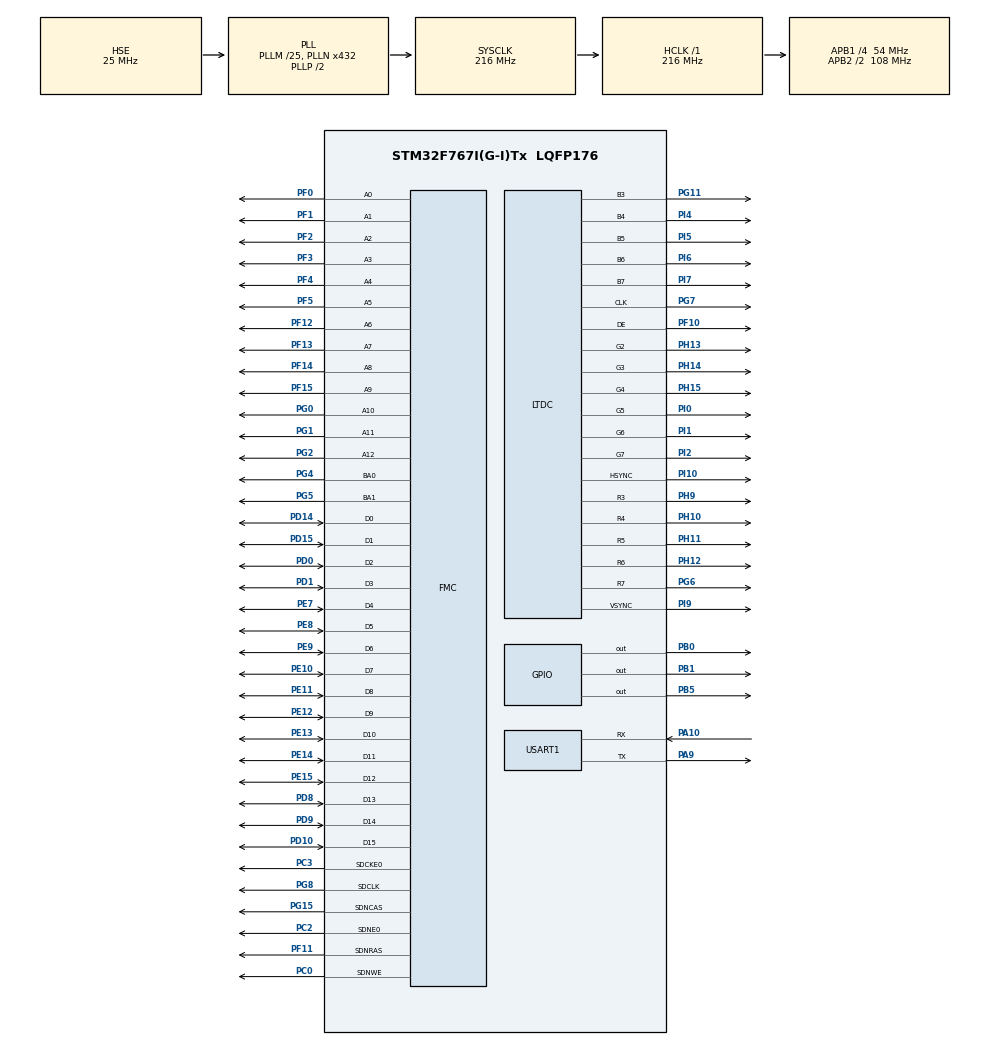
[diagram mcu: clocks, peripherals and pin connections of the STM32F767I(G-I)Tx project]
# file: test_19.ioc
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ADC1.Channel-0\#ChannelRegularConversion=ADC_CHANNEL_TEMPSENSOR
ADC1.InjNumberOfConversion=0
ADC1.NbrOfConversionFlag=1
ADC1.Rank-0\#ChannelRegularConversion=1
ADC1.SamplingTime-0\#ChannelRegularConversion=ADC_SAMPLETIME_480CYCLES
ADC1.master=1
CORTEX_M7.MPU_Control=__NULL
CORTEX_M7.default_mode_Activation=1
DMA2D.ColorMode=DMA2D_OUTPUT_RGB565
FMC.CASLatency1=FMC_SDRAM_CAS_LATENCY_3
FMC.ColumnBitsNumber1=FMC_SDRAM_COLUMN_BITS_NUM_9
FMC.ExitSelfRefreshDelay1=8
FMC.LoadToActiveDelay1=2
FMC.RCDDelay1=2
FMC.RPDelay1=2
FMC.ReadBurst1=FMC_SDRAM_RBURST_ENABLE
FMC.ReadPipeDelay1=FMC_SDRAM_RPIPE_DELAY_1
FMC.RowCycleDelay1=6
FMC.SDClockPeriod1=FMC_SDRAM_CLOCK_PERIOD_2
FMC.SelfRefreshTime1=6
FMC.WriteRecoveryTime1=4
LTDC.ActiveW=800
LTDC.Alpha_L0=255
LTDC.BlendingFactor1_L0=LTDC_BLENDING_FACTOR1_PAxCA
LTDC.BlendingFactor2_L0=LTDC_BLENDING_FACTOR2_PAxCA
LTDC.FBStartAdress_L0=0xc0000000
LTDC.HBP=88
LTDC.HFP=40
LTDC.HSync=48
LTDC.ImageHeight_L0=480
LTDC.ImageWidth_L0=800
LTDC.ImageWidth_L1=0
LTDC.PixelFormat_L0=LTDC_PIXEL_FORMAT_RGB565
LTDC.PixelFormat_L1=LTDC_PIXEL_FORMAT_RGB565
LTDC.VBP=32
LTDC.VFP=13
LTDC.VSync=3
LTDC.WindowX1_L0=800
LTDC.WindowY1_L0=480
Mcu.Family=STM32F7
Mcu.Name=STM32F767I(G-I)Tx
Mcu.Package=LQFP176
NVIC.PriorityGroup=NVIC_PRIORITYGROUP_4
NVIC.USART1_IRQn=true\:0\:0\:false\:false\:true\:true\:true\:true
PA10.GPIO_PuPd=GPIO_PULLUP
PA10.GPIO_Speed=GPIO_SPEED_FREQ_HIGH
PA10.Mode=Asynchronous
PA10.Signal=USART1_RX
PA9.GPIO_ModeDefaultPP=GPIO_MODE_AF_PP
PA9.GPIO_PuPd=GPIO_PULLUP
PA9.GPIO_Speed=GPIO_SPEED_FREQ_HIGH
PA9.Mode=Asynchronous
PA9.Signal=USART1_TX
PB0.GPIO_PuPd=GPIO_PULLUP
PB0.GPIO_Speed=GPIO_SPEED_FREQ_HIGH
PB0.PinState=GPIO_PIN_SET
PB0.Signal=GPIO_Output
PB1.GPIO_PuPd=GPIO_PULLUP
PB1.GPIO_Speed=GPIO_SPEED_FREQ_HIGH
PB1.PinState=GPIO_PIN_SET
PB1.Signal=GPIO_Output
PB5.GPIO_PuPd=GPIO_PULLUP
PB5.GPIO_Speed=GPIO_SPEED_FREQ_HIGH
PB5.Signal=GPIO_Output
PC0.GPIO_Mode=GPIO_MODE_AF_PP
PC0.GPIO_PuPd=GPIO_PULLUP
PC0.GPIO_Speed_High_Default=GPIO_SPEED_FREQ_HIGH
PC0.Signal=FMC_SDNWE
PC14/OSC32_IN.Mode=LSE-External-Oscillator
PC14/OSC32_IN.Signal=RCC_OSC32_IN
PC15/OSC32_OUT.Mode=LSE-External-Oscillator
PC15/OSC32_OUT.Signal=RCC_OSC32_OUT
PC2.GPIO_Mode=GPIO_MODE_AF_PP
PC2.GPIO_PuPd=GPIO_PULLUP
PC2.GPIO_Speed_High_Default=GPIO_SPEED_FREQ_HIGH
PC2.Mode=SdramChipSelect1_1
PC2.Signal=FMC_SDNE0
PC3.GPIO_Mode=GPIO_MODE_AF_PP
PC3.GPIO_PuPd=GPIO_PULLUP
PC3.GPIO_Speed_High_Default=GPIO_SPEED_FREQ_HIGH
PC3.Mode=SdramChipSelect1_1
PC3.Signal=FMC_SDCKE0
PD0.GPIO_Mode=GPIO_MODE_AF_PP
PD0.GPIO_PuPd=GPIO_PULLUP
PD0.GPIO_Speed_High_Default=GPIO_SPEED_FREQ_HIGH
PD0.Signal=FMC_D2_DA2
PD1.GPIO_Mode=GPIO_MODE_AF_PP
PD1.GPIO_PuPd=GPIO_PULLUP
PD1.GPIO_Speed_High_Default=GPIO_SPEED_FREQ_HIGH
PD1.Signal=FMC_D3_DA3
PD10.GPIO_Mode=GPIO_MODE_AF_PP
PD10.GPIO_PuPd=GPIO_PULLUP
PD10.GPIO_Speed_High_Default=GPIO_SPEED_FREQ_HIGH
PD10.Signal=FMC_D15_DA15
PD14.GPIO_Mode=GPIO_MODE_AF_PP
PD14.GPIO_PuPd=GPIO_PULLUP
PD14.GPIO_Speed_High_Default=GPIO_SPEED_FREQ_HIGH
PD14.Signal=FMC_D0_DA0
PD15.GPIO_Mode=GPIO_MODE_AF_PP
PD15.GPIO_PuPd=GPIO_PULLUP
PD15.GPIO_Speed_High_Default=GPIO_SPEED_FREQ_HIGH
PD15.Signal=FMC_D1_DA1
PD8.GPIO_Mode=GPIO_MODE_AF_PP
PD8.GPIO_PuPd=GPIO_PULLUP
PD8.GPIO_Speed_High_Default=GPIO_SPEED_FREQ_HIGH
PD8.Signal=FMC_D13_DA13
PD9.GPIO_Mode=GPIO_MODE_AF_PP
PD9.GPIO_PuPd=GPIO_PULLUP
PD9.GPIO_Speed_High_Default=GPIO_SPEED_FREQ_HIGH
PD9.Signal=FMC_D14_DA14
PE0.GPIO_Mode=GPIO_MODE_AF_PP
PE0.GPIO_PuPd=GPIO_PULLUP
PE0.GPIO_Speed_High_Default=GPIO_SPEED_FREQ_HIGH
PE0.Signal=FMC_NBL0
PE1.GPIO_Mode=GPIO_MODE_AF_PP
PE1.GPIO_PuPd=GPIO_PULLUP
PE1.GPIO_Speed_High_Default=GPIO_SPEED_FREQ_HIGH
PE1.Signal=FMC_NBL1
PE10.GPIO_Mode=GPIO_MODE_AF_PP
PE10.GPIO_PuPd=GPIO_PULLUP
PE10.GPIO_Speed_High_Default=GPIO_SPEED_FREQ_HIGH
PE10.Signal=FMC_D7_DA7
PE11.GPIO_Mode=GPIO_MODE_AF_PP
PE11.GPIO_PuPd=GPIO_PULLUP
PE11.GPIO_Speed_High_Default=GPIO_SPEED_FREQ_HIGH
PE11.Signal=FMC_D8_DA8
PE12.GPIO_Mode=GPIO_MODE_AF_PP
PE12.GPIO_PuPd=GPIO_PULLUP
PE12.GPIO_Speed_High_Default=GPIO_SPEED_FREQ_HIGH
PE12.Signal=FMC_D9_DA9
PE13.GPIO_Mode=GPIO_MODE_AF_PP
PE13.GPIO_PuPd=GPIO_PULLUP
PE13.GPIO_Speed_High_Default=GPIO_SPEED_FREQ_HIGH
PE13.Signal=FMC_D10_DA10
PE14.GPIO_Mode=GPIO_MODE_AF_PP
PE14.GPIO_PuPd=GPIO_PULLUP
PE14.GPIO_Speed_High_Default=GPIO_SPEED_FREQ_HIGH
PE14.Signal=FMC_D11_DA11
PE15.GPIO_Mode=GPIO_MODE_AF_PP
PE15.GPIO_PuPd=GPIO_PULLUP
PE15.GPIO_Speed_High_Default=GPIO_SPEED_FREQ_HIGH
PE15.Signal=FMC_D12_DA12
PE7.GPIO_Mode=GPIO_MODE_AF_PP
PE7.GPIO_PuPd=GPIO_PULLUP
PE7.GPIO_Speed_High_Default=GPIO_SPEED_FREQ_HIGH
PE7.Signal=FMC_D4_DA4
PE8.GPIO_Mode=GPIO_MODE_AF_PP
PE8.GPIO_PuPd=GPIO_PULLUP
PE8.GPIO_Speed_High_Default=GPIO_SPEED_FREQ_HIGH
PE8.Signal=FMC_D5_DA5
PE9.GPIO_Mode=GPIO_MODE_AF_PP
PE9.GPIO_PuPd=GPIO_PULLUP
PE9.GPIO_Speed_High_Default=GPIO_SPEED_FREQ_HIGH
PE9.Signal=FMC_D6_DA6
PF0.GPIO_Mode=GPIO_MODE_AF_PP
PF0.GPIO_PuPd=GPIO_PULLUP
PF0.GPIO_Speed_High_Default=GPIO_SPEED_FREQ_HIGH
PF0.Signal=FMC_A0
PF1.GPIO_Mode=GPIO_MODE_AF_PP
PF1.GPIO_PuPd=GPIO_PULLUP
PF1.GPIO_Speed_High_Default=GPIO_SPEED_FREQ_HIGH
PF1.Signal=FMC_A1
PF10.GPIO_PuPd=GPIO_NOPULL
PF10.GPIO_Speed=GPIO_SPEED_FREQ_HIGH
PF10.Mode=RGB565
PF10.Signal=LTDC_DE
PF11.GPIO_Mode=GPIO_MODE_AF_PP
PF11.GPIO_PuPd=GPIO_PULLUP
PF11.GPIO_Speed_High_Default=GPIO_SPEED_FREQ_HIGH
PF11.Signal=FMC_SDNRAS
PF12.GPIO_Mode=GPIO_MODE_AF_PP
PF12.GPIO_PuPd=GPIO_PULLUP
PF12.GPIO_Speed_High_Default=GPIO_SPEED_FREQ_HIGH
PF12.Signal=FMC_A6
PF13.GPIO_Mode=GPIO_MODE_AF_PP
PF13.GPIO_PuPd=GPIO_PULLUP
PF13.GPIO_Speed_High_Default=GPIO_SPEED_FREQ_HIGH
PF13.Signal=FMC_A7
PF14.GPIO_Mode=GPIO_MODE_AF_PP
PF14.GPIO_PuPd=GPIO_PULLUP
PF14.GPIO_Speed_High_Default=GPIO_SPEED_FREQ_HIGH
PF14.Signal=FMC_A8
PF15.GPIO_Mode=GPIO_MODE_AF_PP
PF15.GPIO_PuPd=GPIO_PULLUP
PF15.GPIO_Speed_High_Default=GPIO_SPEED_FREQ_HIGH
PF15.Signal=FMC_A9
PF2.GPIO_Mode=GPIO_MODE_AF_PP
PF2.GPIO_PuPd=GPIO_PULLUP
PF2.GPIO_Speed_High_Default=GPIO_SPEED_FREQ_HIGH
PF2.Signal=FMC_A2
PF3.GPIO_Mode=GPIO_MODE_AF_PP
PF3.GPIO_PuPd=GPIO_PULLUP
PF3.GPIO_Speed_High_Default=GPIO_SPEED_FREQ_HIGH
PF3.Signal=FMC_A3
PF4.GPIO_Mode=GPIO_MODE_AF_PP
PF4.GPIO_PuPd=GPIO_PULLUP
PF4.GPIO_Speed_High_Default=GPIO_SPEED_FREQ_HIGH
PF4.Signal=FMC_A4
PF5.GPIO_Mode=GPIO_MODE_AF_PP
PF5.GPIO_PuPd=GPIO_PULLUP
PF5.GPIO_Speed_High_Default=GPIO_SPEED_FREQ_HIGH
PF5.Signal=FMC_A5
PG0.GPIO_Mode=GPIO_MODE_AF_PP
PG0.GPIO_PuPd=GPIO_PULLUP
PG0.GPIO_Speed_High_Default=GPIO_SPEED_FREQ_HIGH
PG0.Signal=FMC_A10
PG1.GPIO_Mode=GPIO_MODE_AF_PP
PG1.GPIO_PuPd=GPIO_PULLUP
PG1.GPIO_Speed_High_Default=GPIO_SPEED_FREQ_HIGH
PG1.Signal=FMC_A11
PG11.GPIO_Mode=GPIO_MODE_AF_PP
PG11.GPIO_PuPd=GPIO_NOPULL
PG11.GPIO_Speed=GPIO_SPEED_FREQ_HIGH
PG11.Mode=RGB565
PG11.Signal=LTDC_B3
PG15.GPIO_Mode=GPIO_MODE_AF_PP
PG15.GPIO_PuPd=GPIO_PULLUP
PG15.GPIO_Speed_High_Default=GPIO_SPEED_FREQ_HIGH
PG15.Signal=FMC_SDNCAS
PG2.GPIO_Mode=GPIO_MODE_AF_PP
PG2.GPIO_PuPd=GPIO_PULLUP
PG2.GPIO_Speed_High_Default=GPIO_SPEED_FREQ_HIGH
PG2.Signal=FMC_A12
PG4.GPIO_Mode=GPIO_MODE_AF_PP
PG4.GPIO_PuPd=GPIO_PULLUP
PG4.GPIO_Speed_High_Default=GPIO_SPEED_FREQ_HIGH
PG4.Signal=FMC_A14_BA0
PG5.GPIO_Mode=GPIO_MODE_AF_PP
PG5.GPIO_PuPd=GPIO_PULLUP
PG5.GPIO_Speed_High_Default=GPIO_SPEED_FREQ_HIGH
PG5.Signal=FMC_A15_BA1
PG6.GPIO_Mode=GPIO_MODE_AF_PP
PG6.GPIO_PuPd=GPIO_NOPULL
PG6.GPIO_Speed=GPIO_SPEED_FREQ_HIGH
PG6.Mode=RGB565
PG6.Signal=LTDC_R7
PG7.GPIO_Mode=GPIO_MODE_AF_PP
PG7.GPIO_PuPd=GPIO_NOPULL
PG7.GPIO_Speed=GPIO_SPEED_FREQ_HIGH
PG7.Mode=RGB565
PG7.Signal=LTDC_CLK
PG8.GPIO_Mode=GPIO_MODE_AF_PP
PG8.GPIO_PuPd=GPIO_PULLUP
PG8.GPIO_Speed_High_Default=GPIO_SPEED_FREQ_HIGH
PG8.Signal=FMC_SDCLK
PH0/OSC_IN.Mode=HSE-External-Oscillator
PH0/OSC_IN.Signal=RCC_OSC_IN
PH1/OSC_OUT.Mode=HSE-External-Oscillator
PH1/OSC_OUT.Signal=RCC_OSC_OUT
PH10.GPIO_Mode=GPIO_MODE_AF_PP
PH10.GPIO_PuPd=GPIO_NOPULL
PH10.GPIO_Speed=GPIO_SPEED_FREQ_HIGH
PH10.Mode=RGB565
PH10.Signal=LTDC_R4
PH11.GPIO_Mode=GPIO_MODE_AF_PP
PH11.GPIO_PuPd=GPIO_NOPULL
PH11.GPIO_Speed=GPIO_SPEED_FREQ_HIGH
PH11.Mode=RGB565
PH11.Signal=LTDC_R5
PH12.GPIO_Mode=GPIO_MODE_AF_PP
PH12.GPIO_PuPd=GPIO_NOPULL
PH12.GPIO_Speed=GPIO_SPEED_FREQ_HIGH
PH12.Mode=RGB565
PH12.Signal=LTDC_R6
PH13.GPIO_Mode=GPIO_MODE_AF_PP
PH13.GPIO_PuPd=GPIO_NOPULL
PH13.GPIO_Speed=GPIO_SPEED_FREQ_HIGH
PH13.Mode=RGB565
PH13.Signal=LTDC_G2
PH14.GPIO_Mode=GPIO_MODE_AF_PP
PH14.GPIO_PuPd=GPIO_NOPULL
PH14.GPIO_Speed=GPIO_SPEED_FREQ_HIGH
PH14.Mode=RGB565
PH14.Signal=LTDC_G3
PH15.GPIO_Mode=GPIO_MODE_AF_PP
PH15.GPIO_PuPd=GPIO_NOPULL
PH15.GPIO_Speed=GPIO_SPEED_FREQ_HIGH
PH15.Mode=RGB565
PH15.Signal=LTDC_G4
PH9.GPIO_Mode=GPIO_MODE_AF_PP
PH9.GPIO_PuPd=GPIO_NOPULL
PH9.GPIO_Speed=GPIO_SPEED_FREQ_HIGH
PH9.Mode=RGB565
PH9.Signal=LTDC_R3
PI0.GPIO_Mode=GPIO_MODE_AF_PP
PI0.GPIO_PuPd=GPIO_NOPULL
PI0.GPIO_Speed=GPIO_SPEED_FREQ_HIGH
PI0.Mode=RGB565
PI0.Signal=LTDC_G5
PI1.GPIO_Mode=GPIO_MODE_AF_PP
PI1.GPIO_PuPd=GPIO_NOPULL
PI1.GPIO_Speed=GPIO_SPEED_FREQ_HIGH
PI1.Mode=RGB565
PI1.Signal=LTDC_G6
PI10.GPIO_Mode=GPIO_MODE_AF_PP
PI10.GPIO_PuPd=GPIO_NOPULL
PI10.GPIO_Speed=GPIO_SPEED_FREQ_HIGH
PI10.Mode=RGB565
PI10.Signal=LTDC_HSYNC
PI2.GPIO_Mode=GPIO_MODE_AF_PP
PI2.GPIO_PuPd=GPIO_NOPULL
PI2.GPIO_Speed=GPIO_SPEED_FREQ_HIGH
PI2.Mode=RGB565
PI2.Signal=LTDC_G7
PI4.GPIO_Mode=GPIO_MODE_AF_PP
PI4.GPIO_PuPd=GPIO_NOPULL
PI4.GPIO_Speed=GPIO_SPEED_FREQ_HIGH
PI4.Mode=RGB565
PI4.Signal=LTDC_B4
PI5.GPIO_Mode=GPIO_MODE_AF_PP
PI5.GPIO_PuPd=GPIO_NOPULL
PI5.GPIO_Speed=GPIO_SPEED_FREQ_HIGH
PI5.Mode=RGB565
PI5.Signal=LTDC_B5
PI6.GPIO_Mode=GPIO_MODE_AF_PP
PI6.GPIO_PuPd=GPIO_NOPULL
PI6.GPIO_Speed=GPIO_SPEED_FREQ_HIGH
PI6.Mode=RGB565
PI6.Signal=LTDC_B6
PI7.GPIO_Mode=GPIO_MODE_AF_PP
PI7.GPIO_PuPd=GPIO_NOPULL
PI7.GPIO_Speed=GPIO_SPEED_FREQ_HIGH
PI7.Mode=RGB565
PI7.Signal=LTDC_B7
PI9.GPIO_Mode=GPIO_MODE_AF_PP
PI9.GPIO_PuPd=GPIO_NOPULL
PI9.GPIO_Speed=GPIO_SPEED_FREQ_HIGH
PI9.Mode=RGB565
PI9.Signal=LTDC_VSYNC
ProjectManager.HeapSize=0x200
ProjectManager.StackSize=0x400
ProjectManager.TargetToolchain=MDK-ARM V5.32
RCC.AHBFreq_Value=216000000
RCC.APB1CLKDivider=RCC_HCLK_DIV4
RCC.APB1Freq_Value=54000000
RCC.APB1TimFreq_Value=108000000
RCC.APB2CLKDivider=RCC_HCLK_DIV2
RCC.APB2Freq_Value=108000000
RCC.APB2TimFreq_Value=216000000
RCC.CortexFreq_Value=216000000
RCC.HCLKFreq_Value=216000000
RCC.HSE_VALUE=25000000
RCC.HSI_VALUE=16000000
RCC.PLLM=25
RCC.PLLN=432
RCC.PLLSAIN=396
RCC.PLLSAIR=3
RCC.PLLSAIRDiv=RCC_PLLSAIDIVR_4
RCC.PLLSourceVirtual=RCC_PLLSOURCE_HSE
RCC.SYSCLKFreq_VALUE=216000000
RCC.SYSCLKSource=RCC_SYSCLKSOURCE_PLLCLK
RCC.USBFreq_Value=216000000
RCC.VCOOutputFreq_Value=432000000
SH.FMC_A0.0=FMC_A0,13b-sda1
SH.FMC_A1.0=FMC_A1,13b-sda1
SH.FMC_A10.0=FMC_A10,13b-sda1
SH.FMC_A11.0=FMC_A11,13b-sda1
SH.FMC_A12.0=FMC_A12,13b-sda1
SH.FMC_A14_BA0.0=FMC_BA0,FourSdramBanks1
SH.FMC_A15_BA1.0=FMC_BA1,FourSdramBanks1
SH.FMC_A2.0=FMC_A2,13b-sda1
SH.FMC_A3.0=FMC_A3,13b-sda1
SH.FMC_A4.0=FMC_A4,13b-sda1
SH.FMC_A5.0=FMC_A5,13b-sda1
SH.FMC_A6.0=FMC_A6,13b-sda1
SH.FMC_A7.0=FMC_A7,13b-sda1
SH.FMC_A8.0=FMC_A8,13b-sda1
SH.FMC_A9.0=FMC_A9,13b-sda1
SH.FMC_D0_DA0.0=FMC_D0,sd-16b-d1
SH.FMC_D10_DA10.0=FMC_D10,sd-16b-d1
SH.FMC_D11_DA11.0=FMC_D11,sd-16b-d1
SH.FMC_D12_DA12.0=FMC_D12,sd-16b-d1
SH.FMC_D13_DA13.0=FMC_D13,sd-16b-d1
SH.FMC_D14_DA14.0=FMC_D14,sd-16b-d1
SH.FMC_D15_DA15.0=FMC_D15,sd-16b-d1
SH.FMC_D1_DA1.0=FMC_D1,sd-16b-d1
SH.FMC_D2_DA2.0=FMC_D2,sd-16b-d1
SH.FMC_D3_DA3.0=FMC_D3,sd-16b-d1
SH.FMC_D4_DA4.0=FMC_D4,sd-16b-d1
SH.FMC_D5_DA5.0=FMC_D5,sd-16b-d1
SH.FMC_D6_DA6.0=FMC_D6,sd-16b-d1
SH.FMC_D7_DA7.0=FMC_D7,sd-16b-d1
SH.FMC_D8_DA8.0=FMC_D8,sd-16b-d1
SH.FMC_D9_DA9.0=FMC_D9,sd-16b-d1
SH.FMC_NBL0.0=FMC_NBL0
SH.FMC_NBL1.0=FMC_NBL1
SH.FMC_SDCLK.0=FMC_SDCLK,13b-sda1
SH.FMC_SDNCAS.0=FMC_SDNCAS,13b-sda1
SH.FMC_SDNRAS.0=FMC_SDNRAS,13b-sda1
SH.FMC_SDNWE.0=FMC_SDNWE,13b-sda1
USART1.VirtualMode-Asynchronous=VM_ASYNC
VP_ADC1_TempSens_Input.Mode=IN-TempSens
VP_DMA2D_VS_DMA2D.Mode=DMA2D_Activate
board=custom

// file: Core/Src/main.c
/* USER CODE BEGIN Header */
/**
  ******************************************************************************
  * @file           : main.c
  * @brief          : Main program body
  ******************************************************************************
  * @attention
  *
  * Copyright (c) 2022 STMicroelectronics.
  * All rights reserved.
  *
  * This software is licensed under terms that can be found in the LICENSE file
  * in the root directory of this software component.
  * If no LICENSE file comes with this software, it is provided AS-IS.
  *
  ******************************************************************************
  */
/* USER CODE END Header */
#include "main.h"
#include "adc.h"
#include "dma2d.h"
#include "ltdc.h"
#include "usart.h"
#include "gpio.h"
#include "fmc.h"

/* USER CODE BEGIN Includes */
#include "stdio.h"
#include "lcd.h"
/* USER CODE END Includes */

void SystemClock_Config(void);

/* USER CODE BEGIN 0 */
//加入以下代码,支持printf函数,而不需要选择use MicroLIB
#if 1
#pragma import(__use_no_semihosting)
//解决HAL库使用时,某些情况可能报错的bug
int _ttywrch(int ch)
{
    ch=ch;
	return ch;
}
//标准库需要的支持函数
struct __FILE
{
	int handle;
	/* Whatever you require here. If the only file you are using is */
	/* standard output using printf() for debugging, no file handling */
	/* is required. */
};
/* FILE is typedef’ d in stdio.h. */
FILE __stdout;
//定义_sys_exit()以避免使用半主机模式
void _sys_exit(int x)
{
	x = x;
}
//重定义fputc函数
int fputc(int ch, FILE *f)
{
	while((USART1->ISR&0X40)==0);//循环发送,直到发送完毕
	USART1->TDR = (uint8_t) ch;
	return ch;
}
#endif
/* USER CODE END 0 */

int main(void)
{
  /* USER CODE BEGIN 1 */
    short temp;
  /* USER CODE END 1 */

  /* MCU Configuration--------------------------------------------------------*/

  /* Reset of all peripherals, Initializes the Flash interface and the Systick. */
  HAL_Init();

  /* Configure the system clock */
  SystemClock_Config();

  /* Initialize all configured peripherals */
  MX_GPIO_Init();
  MX_DMA2D_Init();
  MX_FMC_Init();
  MX_LTDC_Init();
  MX_USART1_UART_Init();
  MX_ADC1_Init();
  /* USER CODE BEGIN 2 */
	MX_FMC_Init();
	SDRAM_Initialization_Sequence(&hsdram1);//发送SDRAM初始化序列
	MX_LTDC_Init();
	LCD_Init();
	printf("初始化完毕");

	POINT_COLOR=RED;
	LCD_ShowString(30,50,200,16,16,(uint8_t*)"Apollo STM32F4/F7");
	LCD_ShowString(30,70,200,16,16,(uint8_t*)"Temperature TEST");
	LCD_ShowString(30,90,200,16,16,(uint8_t*)"ATOM@ALIENTEK");
	LCD_ShowString(30,110,200,16,16,(uint8_t*)"2022/8/5");
	POINT_COLOR=BLUE;//设置字体为蓝色
	LCD_ShowString(30,140,200,16,16,(uint8_t*)"TEMPERATURE: 00.00C");//先在固定位置显示小数点

  /* USER CODE END 2 */

  /* Infinite loop */
  /* USER CODE BEGIN WHILE */
  while (1)
  {
	temp=Get_Temprate();	//得到温度值
	if(temp<0)
	{
		temp=-temp;
		LCD_ShowString(30+12*8,140,16,16,16,(uint8_t*)"-");	    //显示负号
	}else LCD_ShowString(30+12*8,140,16,16,16,(uint8_t*)" ");	//无符号

	LCD_ShowxNum(30+13*8,140,temp/100,2,16,0);		//显示整数部分
	LCD_ShowxNum(30+16*8,140,temp%100,2,16,0);		//显示小数部分

	HAL_GPIO_TogglePin(LED0_GPIO_Port,LED0_Pin);
	HAL_Delay(250);
    /* USER CODE END WHILE */

  }
}

void SystemClock_Config(void)
{
  RCC_OscInitTypeDef RCC_OscInitStruct = {0};
  RCC_ClkInitTypeDef RCC_ClkInitStruct = {0};

  /** Configure LSE Drive Capability
  */
  HAL_PWR_EnableBkUpAccess();

  /** Configure the main internal regulator output voltage
  */
  __HAL_RCC_PWR_CLK_ENABLE();
  __HAL_PWR_VOLTAGESCALING_CONFIG(PWR_REGULATOR_VOLTAGE_SCALE1);

  /** Initializes the RCC Oscillators according to the specified parameters
  * in the RCC_OscInitTypeDef structure.
  */
  RCC_OscInitStruct.OscillatorType = RCC_OSCILLATORTYPE_HSE;
  RCC_OscInitStruct.HSEState = RCC_HSE_ON;
  RCC_OscInitStruct.PLL.PLLState = RCC_PLL_ON;
  RCC_OscInitStruct.PLL.PLLSource = RCC_PLLSOURCE_HSE;
  RCC_OscInitStruct.PLL.PLLM = 25;
  RCC_OscInitStruct.PLL.PLLN = 432;
  RCC_OscInitStruct.PLL.PLLP = RCC_PLLP_DIV2;
  RCC_OscInitStruct.PLL.PLLQ = 2;
  RCC_OscInitStruct.PLL.PLLR = 2;
  if (HAL_RCC_OscConfig(&RCC_OscInitStruct) != HAL_OK)
  {
    Error_Handler();
  }

  /** Activate the Over-Drive mode
  */
  if (HAL_PWREx_EnableOverDrive() != HAL_OK)
  {
    Error_Handler();
  }

  /** Initializes the CPU, AHB and APB buses clocks
  */
  RCC_ClkInitStruct.ClockType = RCC_CLOCKTYPE_HCLK|RCC_CLOCKTYPE_SYSCLK
                              |RCC_CLOCKTYPE_PCLK1|RCC_CLOCKTYPE_PCLK2;
  RCC_ClkInitStruct.SYSCLKSource = RCC_SYSCLKSOURCE_PLLCLK;
  RCC_ClkInitStruct.AHBCLKDivider = RCC_SYSCLK_DIV1;
  RCC_ClkInitStruct.APB1CLKDivider = RCC_HCLK_DIV4;
  RCC_ClkInitStruct.APB2CLKDivider = RCC_HCLK_DIV2;

  if (HAL_RCC_ClockConfig(&RCC_ClkInitStruct, FLASH_LATENCY_7) != HAL_OK)
  {
    Error_Handler();
  }
}

void Error_Handler(void)
{
  __disable_irq();
  while (1)
  {
  }
}
